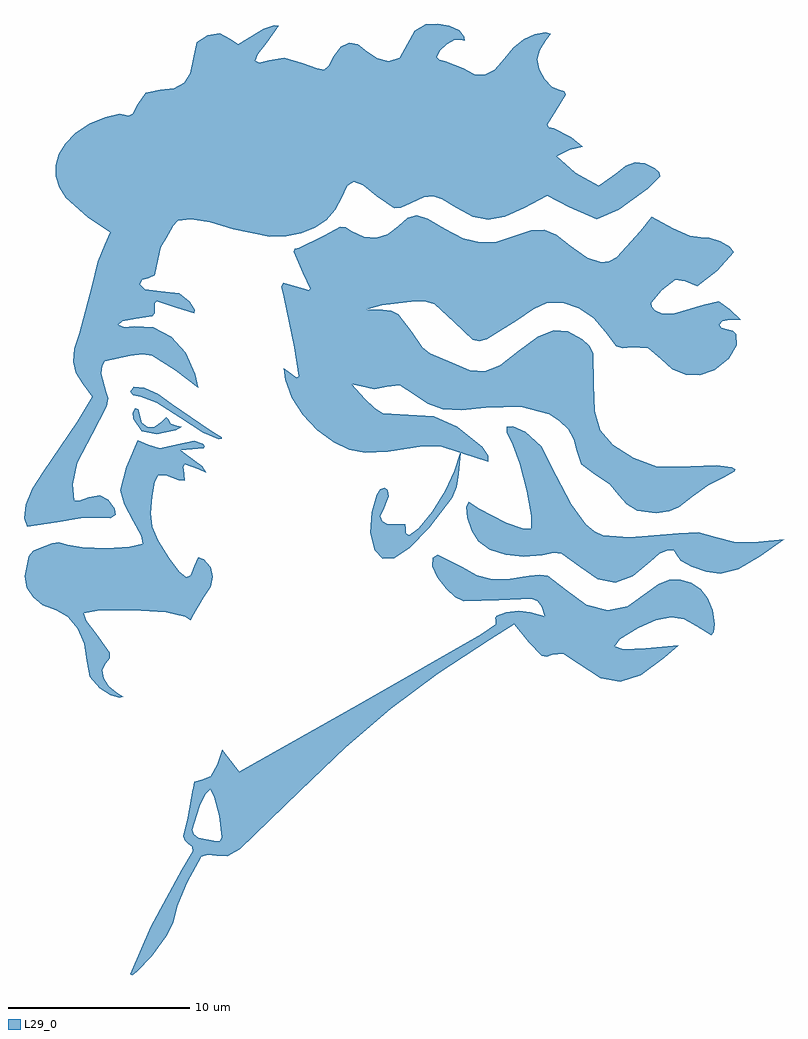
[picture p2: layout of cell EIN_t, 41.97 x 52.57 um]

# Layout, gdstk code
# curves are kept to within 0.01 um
import gdstk
lib = gdstk.Library(unit=1e-6, precision=1e-09)
def P(c, l, *ps):  # polygons
    for p in ps: c.add(gdstk.Polygon(p, *l))
L29_0 = (29, 0)

ein_t = lib.new_cell('EIN_t')
P(ein_t, L29_0, [(92.033,122.218),(91.927,122.273),(93.052,124.897),(94.782,128.062),(95.376,129.075),(95.354,129.314),(94.929,129.674),(94.85,129.91),(95.101,130.929),(95.395,132.499),(96.348,132.499),(96.086,132.232),(95.758,131.603),(95.36,130.278),(95.445,130.028),(95.697,129.835),(96.694,129.619),(96.897,129.654),(96.983,129.851),(96.836,131.044),(96.583,132.071),(96.348,132.499),(95.395,132.499),(95.48,132.916),(95.886,133.028),(96.381,133.226),(96.735,133.857),(97.024,134.686),(97.949,133.46),(104.658,137.253),(111.312,141.064),(112.117,141.628),(112.123,141.842),(112.078,141.97),(112.179,142.092),(112.69,142.288),(113.393,142.372),(114.03,142.282),(114.822,142.06),(114.661,142.578),(114.445,142.879),(114.095,143.022),(110.354,142.889),(109.885,143.106),(109.39,143.564),(108.888,144.203),(108.623,144.818),(108.625,145.281),(108.925,145.463),(110.305,144.753),(111.058,144.327),(111.82,144.119),(112.741,144.112),(114.543,144.356),(114.977,144.289),(115.954,143.545),(117.129,142.697),(118.291,142.387),(119.419,142.615),(120.491,143.383),(121.085,143.833),(121.709,144.059),(122.329,144.077),(122.913,143.904),(123.425,143.555),(123.833,143.046),(124.102,142.394),(124.2,141.614),(124.167,141.168),(124.031,141.004),(123.214,141.495),(122.536,141.881),(121.8,141.994),(120.96,141.832),(119.973,141.395),(118.964,140.78),(118.696,140.401),(119.172,140.243),(120.399,140.294),(122.215,140.464),(121.422,139.775),(120.115,138.809),(119.004,138.434),(117.928,138.637),(115.833,139.982),(115.229,139.921),(114.94,139.82),(114.669,139.882),(113.934,140.63),(113.147,141.611),(111.783,140.763),(108.906,138.874),(106.313,136.938),(103.833,134.821),(97.974,129.185),(97.278,128.8),(96.711,128.824),(96.2,128.897),(95.853,128.765),(95.071,127.377),(94.528,126.05),(94.302,125.141),(93.933,124.38),(93.12,123.293),(92.304,122.413)],
  [(105.886,145.235),(105.424,145.71),(105.198,146.659),(105.257,147.802),(105.54,148.763),(105.747,149.059),(105.986,149.167),(106.16,149.021),(106.2,148.673),(105.914,147.921),(105.738,147.588),(105.842,147.303),(106.165,147.127),(107.119,147.137),(107.158,146.885),(107.154,146.631),(107.341,146.532),(107.87,146.915),(108.603,147.837),(109.327,148.991),(109.824,150.07),(110.165,151.093),(110.18,151.088),(110.083,149.915),(109.976,149.211),(109.728,148.589),(108.445,146.939),(107.36,145.834),(106.519,145.271)],
  [(91.361,137.544),(90.855,137.692),(90.236,138.074),(89.69,138.715),(89.398,140.525),(89.022,141.376),(88.481,142.035),(87.841,142.392),(87.112,142.674),(86.565,143.096),(86.221,143.635),(86.104,144.265),(86.317,145.361),(86.572,145.673),(86.92,145.819),(87.616,146.078),(87.996,146.141),(88.453,146.008),(89.287,145.855),(90.624,145.821),(91.917,145.896),(92.619,146.073),(92.535,146.506),(92.092,147.304),(91.597,148.245),(91.391,149.02),(91.698,150.283),(92.35,151.765),(92.931,151.517),(93.573,151.321),(95.474,151.76),(95.95,151.594),(96.054,151.445),(95.998,151.347),(95.347,151.267),(94.715,151.211),(95.898,150.344),(96.138,149.994),(95.708,150.182),(94.944,150.46),(94.854,150.305),(94.913,149.94),(94.938,149.539),(94.613,149.573),(93.889,149.841),(93.484,149.832),(93.276,149.473),(93.143,148.693),(93.061,147.739),(93.152,146.993),(93.476,146.24),(94.094,145.265),(94.649,144.513),(95.027,144.202),(95.283,144.311),(95.475,144.825),(95.685,145.308),(96.004,145.213),(96.375,144.763),(96.498,144.248),(96.373,143.688),(95.999,143.103),(95.36,142.019),(95.277,141.831),(94.958,142.028),(93.925,142.265),(92.074,142.395),(90.267,142.39),(89.364,142.219),(89.511,141.798),(90.807,140.047),(90.797,139.749),(90.572,139.458),(90.399,139.081),(90.47,138.625),(90.748,138.183),(91.199,137.846),(91.552,137.624)],
  [(118.703,143.917),(117.743,144.096),(116.753,144.787),(115.768,145.517),(115.319,145.552),(114.685,145.436),(113.674,145.332),(112.672,145.443),(111.792,145.743),(111.148,146.207),(110.795,146.788),(110.555,147.506),(110.484,148.116),(110.64,148.374),(111.219,147.996),(112.694,147.229),(113.592,146.929),(114.071,146.888),(114.077,147.596),(113.824,148.984),(113.44,150.481),(113.049,151.516),(112.724,152.189),(112.724,152.527),(113.059,152.539),(113.736,152.235),(114.618,151.453),(116.295,148.242),(117.097,147.143),(117.567,146.742),(118.023,146.52),(119.52,146.429),(122.234,146.651),(123.287,146.689),(125.362,146.154),(126.649,146.17),(128.036,146.322),(126.714,145.363),(125.504,144.644),(124.518,144.405),(123.737,144.513),(122.945,144.782),(122.33,145.129),(122.083,145.47),(121.947,145.702),(121.603,145.702),(121.149,145.495),(119.671,144.253)],
  [(93.386,152.109),(92.563,152.28),(92.112,152.953),(92.072,153.309),(92.197,153.54),(92.375,153.499),(92.578,152.737),(92.893,152.505),(93.29,152.515),(93.666,152.801),(93.926,153.051),(94.029,152.938),(94.171,152.699),(94.5,152.588),(94.785,152.532),(94.434,152.342)],
  [(96.815,151.835),(95.975,152.18),(93.403,153.838),(92.516,154.187),(92.095,154.27),(91.921,154.459),(92.139,154.726),(92.698,154.671),(93.454,154.339),(96.359,152.327),(96.979,151.954),(96.993,151.864)],
  [(120.98,147.733),(119.94,147.874),(119.357,148.235),(118.403,149.334),(117.624,149.874),(116.845,150.445),(116.579,151.196),(116.427,151.83),(116.115,152.38),(115.655,152.839),(115.059,153.202),(113.511,153.615),(111.572,153.569),(110.199,153.436),(109.178,153.499),(108.354,153.787),(107.576,154.33),(106.806,154.82),(106.1,154.733),(105.404,154.606),(104.176,154.861),(104.884,154.066),(105.43,153.539),(105.888,153.262),(108.695,153.101),(109.981,152.526),(111.368,151.421),(111.706,150.926),(111.694,150.597),(110.18,151.088),(110.185,151.152),(110.165,151.093),(109.129,151.431),(108.097,151.44),(106.156,151.147),(104.906,151.077),(104.02,151.245),(103.171,151.664),(102.255,152.338),(101.468,153.184),(100.864,154.135),(100.496,155.121),(100.403,155.745),(100.828,155.454),(101.121,155.222),(101.236,155.299),(100.994,156.909),(100.282,160.251),(100.376,160.481),(101.79,160.057),(101.867,160.133),(100.951,162.191),(101.016,162.362),(101.276,162.397),(102.616,163.061),(103.532,163.561),(103.83,163.526),(104.167,163.326),(104.827,163.01),(105.505,162.951),(106.157,163.145),(106.737,163.587),(107.257,164.058),(107.743,164.199),(108.364,164.001),(109.293,163.455),(110.289,162.935),(111.224,162.7),(112.165,162.743),(113.179,163.058),(114.086,163.367),(114.803,163.398),(115.469,163.127),(116.227,162.529),(117.163,161.855),(117.948,161.603),(118.398,161.654),(118.81,161.881),(120.086,163.323),(120.722,164.116),(121.888,163.484),(122.821,163.077),(123.428,162.985),(123.895,162.968),(124.504,162.756),(125.032,162.45),(125.258,162.153),(124.347,161.128),(123.247,160.28),(122.588,160.558),(122.019,160.633),(121.289,160.055),(120.717,159.357),(120.723,159.148),(120.896,158.954),(121.312,158.774),(121.912,158.765),(123.605,159.25),(124.423,159.456),(125.053,159.015),(125.64,158.428),(125.052,158.428),(124.637,158.35),(124.464,158.163),(124.583,157.976),(125.207,157.829),(125.406,157.64),(125.42,157.02),(124.985,156.273),(124.172,155.636),(123.383,155.377),(122.603,155.404),(121.87,155.709),(121.22,156.284),(120.545,156.852),(119.666,156.902),(119.143,156.871),(118.784,156.965),(118.156,157.755),(117.529,158.51),(116.709,159.068),(115.816,159.37),(114.968,159.357),(114.193,159.009),(113.3,158.41),(111.615,157.363),(111.202,157.251),(110.85,157.326),(108.758,159.283),(108.288,159.434),(107.682,159.455),(105.811,159.222),(105.017,159.02),(105.884,158.988),(106.354,158.927),(106.723,158.744),(107.469,157.766),(108.057,156.926),(108.459,156.576),(110.689,155.631),(111.513,155.582),(112.355,155.931),(114.44,157.495),(115.318,157.853),(116.107,157.796),(116.898,157.343),(117.288,156.989),(117.49,156.584),(117.573,153.379),(117.894,152.325),(118.579,151.52),(119.717,150.803),(121.031,150.321),(122.877,150.343),(124.31,150.388),(125.158,150.282),(125.334,150.182),(125.328,150.055),(123.865,149.294),(122.224,148.079),(121.699,147.845)],
  [(86.247,146.991),(86.065,147.479),(86.17,148.212),(86.533,149.096),(87.129,150.039),(89.002,152.803),(89.846,154.19),(89.296,154.889),(88.924,155.496),(88.772,156.125),(88.839,156.831),(89.119,157.67),(89.799,160.253),(90.137,161.632),(90.52,162.575),(90.832,163.276),(89.613,164.06),(88.363,165.156),(88.002,165.744),(87.819,166.347),(87.814,166.955),(87.991,167.56),(88.349,168.152),(88.891,168.722),(89.667,169.245),(90.56,169.628),(91.358,169.804),(91.849,169.7),(92.067,169.815),(92.353,170.33),(92.793,170.977),(93.577,171.128),(94.37,171.222),(94.921,171.522),(95.259,172.053),(95.413,172.843),(95.613,173.745),(96.212,174.148),(96.886,174.253),(97.431,173.948),(97.898,173.642),(98.248,173.879),(99.309,174.514),(99.876,174.701),(100.123,174.658),(99.461,173.725),(98.978,173.089),(98.838,172.725),(99.044,172.619),(99.597,172.756),(100.45,172.887),(101.455,172.61),(102.22,172.311),(102.633,172.245),(102.884,172.454),(103.165,172.98),(103.559,173.516),(104.014,173.741),(104.507,173.651),(105.017,173.245),(105.561,172.871),(106.196,172.715),(106.822,172.901),(107.649,174.382),(108.246,174.737),(108.901,174.791),(109.559,174.671),(110.096,174.417),(110.388,174.068),(110.395,173.848),(110.194,173.895),(109.852,173.887),(109.406,173.648),(109.019,173.293),(108.854,172.939),(108.994,172.781),(109.332,172.715),(110.325,172.327),(110.943,171.994),(111.521,171.966),(112.066,172.245),(112.585,172.833),(113.094,173.449),(113.662,173.912),(114.26,174.202),(114.86,174.303),(115.148,174.226),(114.848,173.819),(114.539,173.326),(114.41,172.82),(114.53,172.269),(114.832,171.719),(115.223,171.297),(115.616,171.128),(115.901,171.063),(115.973,170.861),(115.468,169.997),(114.967,169.206),(115.035,169.053),(115.307,169.011),(116.299,168.504),(116.924,167.998),(116.196,167.814),(115.474,167.461),(116.521,166.559),(117.814,165.836),(118.752,166.498),(119.297,166.934),(119.826,167.127),(120.354,167.079),(120.897,166.792),(121.159,166.569),(121.205,166.369),(120.52,165.667),(118.901,164.505),(117.695,163.984),(116.182,164.631),(114.965,165.279),(113.711,164.612),(112.616,164.125),(111.695,163.962),(110.836,164.122),(109.925,164.605),(109.176,165.075),(108.654,165.26),(108.142,165.184),(106.878,164.629),(106.5,164.591),(105.553,165.265),(104.794,165.861),(104.276,166.048),(103.908,165.823),(103.251,164.496),(102.754,163.934),(102.125,163.5),(101.384,163.199),(100.546,163.038),(99.631,163.02),(97.634,163.435),(96.342,163.811),(95.283,163.97),(94.565,163.909),(94.302,163.619),(93.626,162.428),(93.293,160.894),(92.913,160.713),(92.586,160.631),(92.45,160.383),(92.727,160.102),(93.625,160.015),(94.639,159.893),(95.207,159.436),(95.481,158.99),(95.475,158.794),(94.483,159.086),(93.402,159.455),(93.273,159.342),(93.298,159.023),(93.287,158.79),(93.135,158.636),(91.49,158.35),(91.263,158.156),(91.588,158.03),(92.159,158.065),(93.216,158.014),(94.203,157.498),(95.005,156.605),(95.509,155.426),(95.695,154.674),(94.419,155.647),(93.154,156.443),(92.629,156.513),(91.937,156.44),(90.531,156.137),(90.377,155.881),(90.343,155.443),(90.716,154.084),(90.641,153.654),(89.005,150.521),(88.745,149.35),(88.849,148.448),(89.115,148.439),(89.645,148.628),(90.258,148.74),(90.721,148.477),(91.083,148.002),(91.119,147.659),(90.84,147.477),(90.263,147.489),(89.212,147.472),(87.897,147.236)])
ein_t.add(gdstk.FlexPath([(91.927,122.273),(91.927,122.273)], 0, ends="flush", simple_path=True, layer=29, datatype=0))  # L29_0
ein_t.add(gdstk.FlexPath([(105.424,145.71),(105.424,145.71)], 0, ends="flush", simple_path=True, layer=29, datatype=0))  # L29_0
ein_t.add(gdstk.FlexPath([(119.94,147.874),(119.94,147.874)], 0, ends="flush", simple_path=True, layer=29, datatype=0))  # L29_0
ein_t.add(gdstk.FlexPath([(94.699,153.008),(94.699,153.008)], 0, ends="flush", simple_path=True, layer=29, datatype=0))  # L29_0
ein_t.add(gdstk.FlexPath([(92.563,152.28),(92.563,152.28)], 0, ends="flush", simple_path=True, layer=29, datatype=0))  # L29_0

lib.write_gds('EIN_t.gds')
